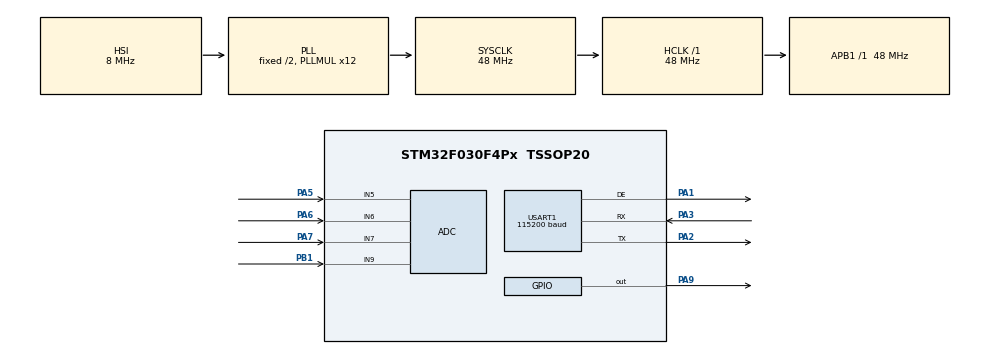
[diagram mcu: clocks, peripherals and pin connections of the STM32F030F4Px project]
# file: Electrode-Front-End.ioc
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ADC.SamplingTime=ADC_SAMPLETIME_7CYCLES_5
Dma.ADC.0.Direction=DMA_PERIPH_TO_MEMORY
Dma.ADC.0.Instance=DMA1_Channel1
Dma.ADC.0.MemDataAlignment=DMA_MDATAALIGN_WORD
Dma.ADC.0.MemInc=DMA_MINC_ENABLE
Dma.ADC.0.Mode=DMA_NORMAL
Dma.ADC.0.PeriphDataAlignment=DMA_PDATAALIGN_WORD
Dma.ADC.0.PeriphInc=DMA_PINC_DISABLE
Dma.ADC.0.Priority=DMA_PRIORITY_LOW
Dma.Request0=ADC
Mcu.Family=STM32F0
Mcu.Name=STM32F030F4Px
Mcu.Package=TSSOP20
NVIC.ADC1_IRQn=true\:0\:0\:false\:false\:true\:true\:true
NVIC.DMA1_Channel1_IRQn=true\:0\:0\:false\:false\:true\:false\:true
NVIC.TIM14_IRQn=true\:1\:0\:true\:false\:true\:true\:true
NVIC.TIM17_IRQn=true\:3\:0\:true\:false\:true\:true\:true
NVIC.USART1_IRQn=true\:2\:0\:true\:false\:true\:true\:true
PA1.Mode=Hardware Flow Control (RS485)
PA1.Signal=USART1_DE
PA13.Mode=Serial_Wire
PA13.Signal=SYS_SWDIO
PA14.Mode=Serial_Wire
PA14.Signal=SYS_SWCLK
PA2.Mode=Asynchronous
PA2.Signal=USART1_TX
PA3.Mode=Asynchronous
PA3.Signal=USART1_RX
PA5.Mode=IN5
PA5.Signal=ADC_IN5
PA6.Mode=IN6
PA6.Signal=ADC_IN6
PA7.Mode=IN7
PA7.Signal=ADC_IN7
PA9.Signal=GPIO_Output
PB1.Mode=IN9
PB1.Signal=ADC_IN9
ProjectManager.HeapSize=0x200
ProjectManager.StackSize=0x400
ProjectManager.TargetToolchain=MDK-ARM V5.27
RCC.AHBFreq_Value=48000000
RCC.APB1Freq_Value=48000000
RCC.APB1TimFreq_Value=48000000
RCC.HCLKFreq_Value=48000000
RCC.PLLMUL=RCC_PLL_MUL12
RCC.SYSCLKFreq_VALUE=48000000
RCC.SYSCLKSource=RCC_SYSCLKSOURCE_PLLCLK
TIM14.Prescaler=2399
TIM17.AutoReloadPreload=TIM_AUTORELOAD_PRELOAD_ENABLE
TIM17.Period=5000
TIM17.Prescaler=4800
USART1.BaudRate=115200
USART1.VirtualMode-Asynchronous=VM_ASYNC
USART1.VirtualMode-Hardware\ Flow\ Control\ (RS485)=VM_ASYNC
VP_TIM14_VS_ClockSourceINT.Mode=Enable_Timer
VP_TIM17_VS_ClockSourceINT.Mode=Enable_Timer
board=custom

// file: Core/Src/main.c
/* USER CODE BEGIN Header */
/**
  ******************************************************************************
  * @file           : main.c
  * @brief          : Main program body
  ******************************************************************************
  * @attention
  *
  * <h2><center>&copy; Copyright (c) 2021 STMicroelectronics.
  * All rights reserved.</center></h2>
  *
  * This software component is licensed by ST under BSD 3-Clause license,
  * the "License"; You may not use this file except in compliance with the
  * License. You may obtain a copy of the License at:
  *                        opensource.org/licenses/BSD-3-Clause
  *
  ******************************************************************************
  */
/* USER CODE END Header */
#include "main.h"
#include "adc.h"
#include "dma.h"
#include "tim.h"
#include "usart.h"
#include "gpio.h"

/* USER CODE BEGIN PTD */

/* Variable containing ADC conversions results */

uint32_t aADCxConvertedValues[ADCCONVERTEDVALUES_BUFFER_SIZE];
uint32_t COUNTER = 0;
uint32_t ADC0Buffer[10];
uint32_t ADC1Buffer[10];
uint32_t ADC2Buffer[10];
uint32_t ADC3Buffer[10];
uint32_t ADC_0;
uint32_t ADC_1;
uint32_t ADC_2;
uint32_t ADC_3;
uint16_t val;
float ADC_0_REAL;
float ADC_1_REAL;
float ADC_2_REAL;
float ADC_3_REAL;
uint16_t UART_TRANS_BUFFER[4];

/* USER CODE END PTD */

void SystemClock_Config(void);

int main(void)
{

  /* MCU Configuration--------------------------------------------------------*/

  /* Reset of all peripherals, Initializes the Flash interface and the Systick. */
  HAL_Init();

  /* Configure the system clock */
  SystemClock_Config();

  /* Initialize all configured peripherals */
  MX_GPIO_Init();
  MX_DMA_Init();
  MX_ADC_Init();
  MX_TIM17_Init();
  MX_TIM14_Init();
  MX_USART1_UART_Init();
  /* USER CODE BEGIN 2 */
	HAL_TIM_Base_Start_IT(&htim17);
	HAL_ADCEx_Calibration_Start(&hadc);
  /* USER CODE END 2 */

  /* Infinite loop */
  while (1)
  {

    /* USER CODE BEGIN 3 */

		HAL_GPIO_TogglePin(GPIOA, GPIO_PIN_2);
		HAL_GPIO_TogglePin(GPIOA, GPIO_PIN_3);
		HAL_Delay(2000);

	  //if (HAL_ADC_Start_DMA(&hadc, aADCxConvertedValues, ADCCONVERTEDVALUES_BUFFER_SIZE) != HAL_OK) {
		//	HAL_UART_Transmit(&huart1, (uint8_t *)"123123", 6, 0xffff);
	  //}
		//HAL_Delay(100);
		//HAL_UART_Transmit(&huart1, (uint8_t *)"1231231231231", 10, 0xffff);
		//HAL_UART_Transmit(&huart1, (uint8_t *)"1", 1, 0xffff);
		//HAL_ADC_Start_DMA(&hadc, aADCxConvertedValues, ADCCONVERTEDVALUES_BUFFER_SIZE);
//		HAL_ADC_Start(&hadc);
//		HAL_ADC_PollForConversion(&hadc, 10);
//		val = HAL_ADC_GetValue(&hadc);
//		HAL_Delay(1000);

	}
  /* USER CODE END 3 */
}

void SystemClock_Config(void)
{
  RCC_OscInitTypeDef RCC_OscInitStruct = {0};
  RCC_ClkInitTypeDef RCC_ClkInitStruct = {0};
  RCC_PeriphCLKInitTypeDef PeriphClkInit = {0};

  /** Initializes the RCC Oscillators according to the specified parameters
  * in the RCC_OscInitTypeDef structure.
  */
  RCC_OscInitStruct.OscillatorType = RCC_OSCILLATORTYPE_HSI|RCC_OSCILLATORTYPE_HSI14;
  RCC_OscInitStruct.HSIState = RCC_HSI_ON;
  RCC_OscInitStruct.HSI14State = RCC_HSI14_ON;
  RCC_OscInitStruct.HSICalibrationValue = RCC_HSICALIBRATION_DEFAULT;
  RCC_OscInitStruct.HSI14CalibrationValue = 16;
  RCC_OscInitStruct.PLL.PLLState = RCC_PLL_ON;
  RCC_OscInitStruct.PLL.PLLSource = RCC_PLLSOURCE_HSI;
  RCC_OscInitStruct.PLL.PLLMUL = RCC_PLL_MUL12;
  RCC_OscInitStruct.PLL.PREDIV = RCC_PREDIV_DIV1;
  if (HAL_RCC_OscConfig(&RCC_OscInitStruct) != HAL_OK)
  {
    Error_Handler();
  }
  /** Initializes the CPU, AHB and APB buses clocks
  */
  RCC_ClkInitStruct.ClockType = RCC_CLOCKTYPE_HCLK|RCC_CLOCKTYPE_SYSCLK
                              |RCC_CLOCKTYPE_PCLK1;
  RCC_ClkInitStruct.SYSCLKSource = RCC_SYSCLKSOURCE_PLLCLK;
  RCC_ClkInitStruct.AHBCLKDivider = RCC_SYSCLK_DIV1;
  RCC_ClkInitStruct.APB1CLKDivider = RCC_HCLK_DIV1;

  if (HAL_RCC_ClockConfig(&RCC_ClkInitStruct, FLASH_LATENCY_1) != HAL_OK)
  {
    Error_Handler();
  }
  PeriphClkInit.PeriphClockSelection = RCC_PERIPHCLK_USART1;
  PeriphClkInit.Usart1ClockSelection = RCC_USART1CLKSOURCE_PCLK1;
  if (HAL_RCCEx_PeriphCLKConfig(&PeriphClkInit) != HAL_OK)
  {
    Error_Handler();
  }
}

void Error_Handler(void)
{
  __disable_irq();
  while (1)
  {
  }
}

/************************ (C) COPYRIGHT STMicroelectronics *****END OF FILE****/
